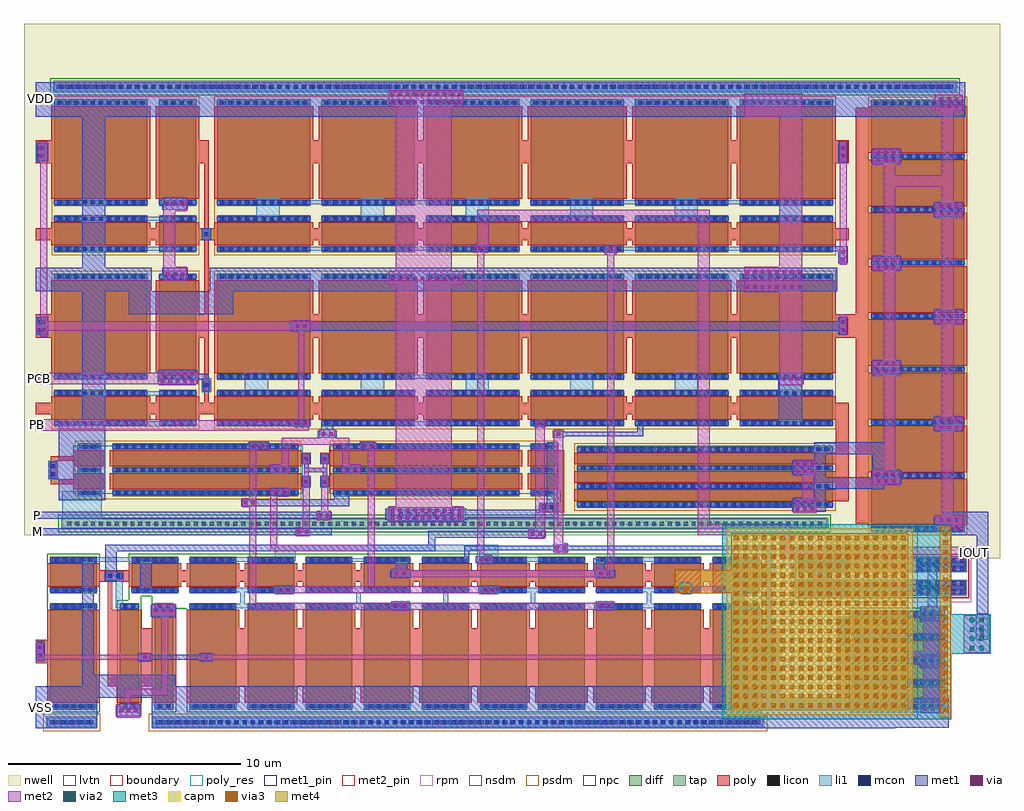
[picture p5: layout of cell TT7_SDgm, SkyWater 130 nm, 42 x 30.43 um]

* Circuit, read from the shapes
.subckt TT7_SDgm IOUT M P PB PCB VDD VSS
XM1 VSS n1 VSS VSS sky130_fd_pr__nfet_01v8 w=2 l=4 m=2
XM2 VSS n2 VSS VSS sky130_fd_pr__nfet_01v8 w=2 l=1 m=3
XM3 n2 n2 n3 VSS sky130_fd_pr__nfet_01v8 w=0.8 l=4
XM4 n3 n2 VSS VSS sky130_fd_pr__nfet_01v8 w=0.8 l=4
XM5 n4 n1 VSS VSS sky130_fd_pr__nfet_01v8 w=2 l=4 m=4
XM6 IOUT n2 n4 VSS sky130_fd_pr__nfet_01v8 w=2 l=1 m=4
XM7 n5 n1 VSS VSS sky130_fd_pr__nfet_01v8 w=2 l=4 m=4
XM8 n6 n2 n5 VSS sky130_fd_pr__nfet_01v8 w=2 l=1 m=4
XM9 n7 n1 VSS VSS sky130_fd_pr__nfet_01v8 w=2 l=4
XM10 n1 n2 n7 VSS sky130_fd_pr__nfet_01v8 w=2 l=1
XM11 VSS VSS VSS VSS sky130_fd_pr__nfet_01v8 w=4 l=0.7 m=4
XM12 VDD PCB VDD VDD sky130_fd_pr__pfet_01v8 w=4 l=1 m=3
XM13 VDD PB VDD VDD sky130_fd_pr__pfet_01v8 w=4 l=4 m=3
XM14 VDD VDD VDD VDD sky130_fd_pr__pfet_01v8_lvt w=1 l=0.7 m=4
XM15 n8 M n4 VDD sky130_fd_pr__pfet_01v8_lvt w=8 l=0.7 m=2
XM16 n5 P n8 VDD sky130_fd_pr__pfet_01v8_lvt w=8 l=0.7 m=2
XM17 VDD PCB VDD VDD sky130_fd_pr__pfet_01v8 w=1.6 l=1 m=2
XM18 n9 PCB PCB VDD sky130_fd_pr__pfet_01v8 w=1.6 l=4
XM19 VDD PCB n9 VDD sky130_fd_pr__pfet_01v8 w=1.6 l=4
XM20 n10 PCB PB VDD sky130_fd_pr__pfet_01v8 w=4 l=1
XM21 VDD PB n10 VDD sky130_fd_pr__pfet_01v8 w=4 l=4
XM22 n11 PCB IOUT VDD sky130_fd_pr__pfet_01v8 w=4 l=1 m=3
XM23 VDD n6 n11 VDD sky130_fd_pr__pfet_01v8 w=4 l=4 m=3
XM24 n12 PCB n8 VDD sky130_fd_pr__pfet_01v8 w=4 l=1 m=2
XM25 VDD PB n12 VDD sky130_fd_pr__pfet_01v8 w=4 l=4 m=2
XM26 n13 PCB n2 VDD sky130_fd_pr__pfet_01v8 w=4 l=1
XM27 VDD PB n13 VDD sky130_fd_pr__pfet_01v8 w=4 l=4
XM28 n14 PCB n6 VDD sky130_fd_pr__pfet_01v8 w=4 l=1 m=3
XM29 VDD n6 n14 VDD sky130_fd_pr__pfet_01v8 w=4 l=4 m=3
XM30 VDD PCB VDD VDD sky130_fd_pr__pfet_01v8 w=11 l=0.5 m=3
XM31 n15 PCB n1 VDD sky130_fd_pr__pfet_01v8 w=4 l=1
XM32 VDD PB n15 VDD sky130_fd_pr__pfet_01v8 w=4 l=4
XM33 VDD PB VDD VDD sky130_fd_pr__pfet_01v8 w=4 l=2 m=8
XC34 VSS VDD sky130_fd_pr__cap_mim_m3_1 w=8 l=8
XR35 VSS VSS VSS sky130_fd_pr__res_high_po w=0.69 l=2.98 m=2
.ends

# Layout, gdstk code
from math import pi, radians
import gdstk
lib = gdstk.Library(unit=1e-6, precision=1e-09)
def R(c, l, rs):  # rectangles x0, y0, x1, y1
    for r in rs: c.add(gdstk.rectangle(r[:2], r[2:], *l))
def A(c, l, x, y, w, h, nx, ny, dx, dy):  # array of equal rectangles
    R(c, l, [(x+i*dx, y+j*dy, x+i*dx+w, y+j*dy+h) for i in range(nx) for j in range(ny)])
nwell = (64, 20)
diff = (65, 20)
tap = (65, 44)
poly_res = (66, 13)
poly = (66, 20)
licon = (66, 44)
li1 = (67, 20)
mcon = (67, 44)
met1_pin = (68, 16)
met1 = (68, 20)
via = (68, 44)
met2_pin = (69, 16)
met2 = (69, 20)
via2 = (69, 44)
met3 = (70, 20)
via3 = (70, 44)
met4 = (71, 20)
rpm = (86, 20)
capm = (89, 44)
nsdm = (93, 44)
psdm = (94, 20)
npc = (95, 20)
lvtn = (125, 44)
boundary = (235, 4)

sky130_fd_pr__nfet_01v8_ = lib.new_cell('sky130_fd_pr__nfet_01v8_PTPCDK')
R(sky130_fd_pr__nfet_01v8_, diff, [(-2.29,-0.4,2.29,0.4)])
R(sky130_fd_pr__nfet_01v8_, poly, [(-2,-0.53,2,0.53)])
R(sky130_fd_pr__nfet_01v8_, licon, [(-2.23,-0.255,-2.06,-0.085), (2.06,-0.255,2.23,-0.085), (-2.23,0.085,-2.06,0.255), (2.06,0.085,2.23,0.255)])
R(sky130_fd_pr__nfet_01v8_, li1, [(-2.23,-0.42,-2.06,0.42), (2.06,-0.42,2.23,0.42)])
R(sky130_fd_pr__nfet_01v8_, mcon, [(-2.23,-0.265,-2.06,-0.095), (2.06,-0.265,2.23,-0.095), (-2.23,0.095,-2.06,0.265), (2.06,0.095,2.23,0.265)])
R(sky130_fd_pr__nfet_01v8_, met1, [(-2.26,-0.4,-2.03,0.4), (2.03,-0.4,2.26,0.4)])
R(sky130_fd_pr__nfet_01v8_, nsdm, [(-2.415,-0.525,2.415,0.525)])

c_sky130_fd_pr__nfet_01v8_ = lib.new_cell('sky130_fd_pr__nfet_01v8_PBDAGK')
R(c_sky130_fd_pr__nfet_01v8_, diff, [(-2.29,-1,2.29,1)])
R(c_sky130_fd_pr__nfet_01v8_, poly, [(-2,-1.13,2,1.13)])
A(c_sky130_fd_pr__nfet_01v8_, licon, -2.23, -0.935, 0.17, 0.17, 1, 6, 0, 0.34)
A(c_sky130_fd_pr__nfet_01v8_, licon, 2.06, -0.935, 0.17, 0.17, 1, 6, 0, 0.34)
R(c_sky130_fd_pr__nfet_01v8_, li1, [(-2.23,-1.02,-2.06,1.02), (2.06,-1.02,2.23,1.02)])
A(c_sky130_fd_pr__nfet_01v8_, mcon, -2.23, -0.805, 0.17, 0.17, 1, 5, 0, 0.36)
A(c_sky130_fd_pr__nfet_01v8_, mcon, 2.06, -0.805, 0.17, 0.17, 1, 5, 0, 0.36)
R(c_sky130_fd_pr__nfet_01v8_, met1, [(-2.26,-1,-2.03,1), (2.03,-1,2.26,1)])
R(c_sky130_fd_pr__nfet_01v8_, nsdm, [(-2.415,-1.125,2.415,1.125)])

sky130_fd_pr__pfet_01v8_ = lib.new_cell('sky130_fd_pr__pfet_01v8_lvt_J25L74')
R(sky130_fd_pr__pfet_01v8_, nwell, [(-1.315,-0.81,1.315,0.81)])
R(sky130_fd_pr__pfet_01v8_, diff, [(-1.135,-0.5,1.135,0.5)])
R(sky130_fd_pr__pfet_01v8_, poly, [(-0.845,-0.63,-0.145,0.63), (0.145,-0.63,0.845,0.63)])
A(sky130_fd_pr__pfet_01v8_, licon, -1.075, -0.425, 0.17, 0.17, 3, 3, 0.99, 0.34)
A(sky130_fd_pr__pfet_01v8_, li1, -1.075, -0.52, 0.17, 1.04, 3, 1, 0.99, 0)
A(sky130_fd_pr__pfet_01v8_, mcon, -1.075, -0.265, 0.17, 0.17, 3, 2, 0.99, 0.36)
A(sky130_fd_pr__pfet_01v8_, met1, -1.105, -0.5, 0.23, 1, 3, 1, 0.99, 0)
R(sky130_fd_pr__pfet_01v8_, psdm, [(-1.26,-0.625,1.26,0.625)])
R(sky130_fd_pr__pfet_01v8_, lvtn, [(-1.025,-0.68,1.025,0.68)])

c_sky130_fd_pr__pfet_01v8_ = lib.new_cell('sky130_fd_pr__pfet_01v8_lvt_8J5L7C')
R(c_sky130_fd_pr__pfet_01v8_, nwell, [(-1.315,-4.31,1.315,4.31)])
R(c_sky130_fd_pr__pfet_01v8_, diff, [(-1.135,-4,1.135,4)])
R(c_sky130_fd_pr__pfet_01v8_, poly, [(-0.845,-4.13,-0.145,4.13), (0.145,-4.13,0.845,4.13)])
A(c_sky130_fd_pr__pfet_01v8_, licon, -1.075, -3.825, 0.17, 0.17, 3, 23, 0.99, 0.34)
A(c_sky130_fd_pr__pfet_01v8_, li1, -1.075, -4.02, 0.17, 8.04, 3, 1, 0.99, 0)
A(c_sky130_fd_pr__pfet_01v8_, mcon, -1.075, -3.865, 0.17, 0.17, 3, 22, 0.99, 0.36)
A(c_sky130_fd_pr__pfet_01v8_, met1, -1.105, -4, 0.23, 8, 3, 1, 0.99, 0)
R(c_sky130_fd_pr__pfet_01v8_, psdm, [(-1.26,-4.125,1.26,4.125)])
R(c_sky130_fd_pr__pfet_01v8_, lvtn, [(-1.025,-4.18,1.025,4.18)])

c_sky130_fd_pr__nfet_01v8__ = lib.new_cell('sky130_fd_pr__nfet_01v8_72PH2K')
R(c_sky130_fd_pr__nfet_01v8__, diff, [(-0.79,-1,0.79,1)])
R(c_sky130_fd_pr__nfet_01v8__, poly, [(-0.5,-1.13,0.5,1.13)])
A(c_sky130_fd_pr__nfet_01v8__, licon, -0.73, -0.935, 0.17, 0.17, 1, 6, 0, 0.34)
A(c_sky130_fd_pr__nfet_01v8__, licon, 0.56, -0.935, 0.17, 0.17, 1, 6, 0, 0.34)
R(c_sky130_fd_pr__nfet_01v8__, li1, [(-0.73,-1.02,-0.56,1.02), (0.56,-1.02,0.73,1.02)])
A(c_sky130_fd_pr__nfet_01v8__, mcon, -0.73, -0.805, 0.17, 0.17, 1, 5, 0, 0.36)
A(c_sky130_fd_pr__nfet_01v8__, mcon, 0.56, -0.805, 0.17, 0.17, 1, 5, 0, 0.36)
R(c_sky130_fd_pr__nfet_01v8__, met1, [(-0.76,-1,-0.53,1), (0.53,-1,0.76,1)])
R(c_sky130_fd_pr__nfet_01v8__, nsdm, [(-0.915,-1.125,0.915,1.125)])

c_sky130_fd_pr__pfet_01v8__ = lib.new_cell('sky130_fd_pr__pfet_01v8_ZFUT7P')
R(c_sky130_fd_pr__pfet_01v8__, nwell, [(-2.47,-2.31,2.47,2.31)])
R(c_sky130_fd_pr__pfet_01v8__, diff, [(-2.29,-2,2.29,2)])
R(c_sky130_fd_pr__pfet_01v8__, poly, [(-2,-2.13,2,2.13)])
A(c_sky130_fd_pr__pfet_01v8__, licon, -2.23, -1.785, 0.17, 0.17, 1, 11, 0, 0.34)
A(c_sky130_fd_pr__pfet_01v8__, licon, 2.06, -1.785, 0.17, 0.17, 1, 11, 0, 0.34)
R(c_sky130_fd_pr__pfet_01v8__, li1, [(-2.23,-2.02,-2.06,2.02), (2.06,-2.02,2.23,2.02)])
A(c_sky130_fd_pr__pfet_01v8__, mcon, -2.23, -1.885, 0.17, 0.17, 1, 11, 0, 0.36)
A(c_sky130_fd_pr__pfet_01v8__, mcon, 2.06, -1.885, 0.17, 0.17, 1, 11, 0, 0.36)
R(c_sky130_fd_pr__pfet_01v8__, met1, [(-2.26,-2,-2.03,2), (2.03,-2,2.26,2)])
R(c_sky130_fd_pr__pfet_01v8__, psdm, [(-2.415,-2.125,2.415,2.125)])

c_sky130_fd_pr__pfet_01v8___ = lib.new_cell('sky130_fd_pr__pfet_01v8_UBUTEZ')
R(c_sky130_fd_pr__pfet_01v8___, nwell, [(-0.97,-2.31,0.97,2.31)])
R(c_sky130_fd_pr__pfet_01v8___, diff, [(-0.79,-2,0.79,2)])
R(c_sky130_fd_pr__pfet_01v8___, poly, [(-0.5,-2.13,0.5,2.13)])
A(c_sky130_fd_pr__pfet_01v8___, licon, -0.73, -1.785, 0.17, 0.17, 1, 11, 0, 0.34)
A(c_sky130_fd_pr__pfet_01v8___, licon, 0.56, -1.785, 0.17, 0.17, 1, 11, 0, 0.34)
R(c_sky130_fd_pr__pfet_01v8___, li1, [(-0.73,-2.02,-0.56,2.02), (0.56,-2.02,0.73,2.02)])
A(c_sky130_fd_pr__pfet_01v8___, mcon, -0.73, -1.885, 0.17, 0.17, 1, 11, 0, 0.36)
A(c_sky130_fd_pr__pfet_01v8___, mcon, 0.56, -1.885, 0.17, 0.17, 1, 11, 0, 0.36)
R(c_sky130_fd_pr__pfet_01v8___, met1, [(-0.76,-2,-0.53,2), (0.53,-2,0.76,2)])
R(c_sky130_fd_pr__pfet_01v8___, psdm, [(-0.915,-2.125,0.915,2.125)])

c_sky130_fd_pr__pfet_01v8____ = lib.new_cell('sky130_fd_pr__pfet_01v8_9WHHJ8')
R(c_sky130_fd_pr__pfet_01v8____, nwell, [(-0.97,-1.11,0.97,1.11)])
R(c_sky130_fd_pr__pfet_01v8____, diff, [(-0.79,-0.8,0.79,0.8)])
R(c_sky130_fd_pr__pfet_01v8____, poly, [(-0.5,-0.93,0.5,0.93)])
A(c_sky130_fd_pr__pfet_01v8____, licon, -0.73, -0.595, 0.17, 0.17, 1, 4, 0, 0.34)
A(c_sky130_fd_pr__pfet_01v8____, licon, 0.56, -0.595, 0.17, 0.17, 1, 4, 0, 0.34)
R(c_sky130_fd_pr__pfet_01v8____, li1, [(-0.73,-0.82,-0.56,0.82), (0.56,-0.82,0.73,0.82)])
A(c_sky130_fd_pr__pfet_01v8____, mcon, -0.73, -0.625, 0.17, 0.17, 1, 4, 0, 0.36)
A(c_sky130_fd_pr__pfet_01v8____, mcon, 0.56, -0.625, 0.17, 0.17, 1, 4, 0, 0.36)
R(c_sky130_fd_pr__pfet_01v8____, met1, [(-0.76,-0.8,-0.53,0.8), (0.53,-0.8,0.76,0.8)])
R(c_sky130_fd_pr__pfet_01v8____, psdm, [(-0.915,-0.925,0.915,0.925)])

c_sky130_fd_pr__pfet_01v8_____ = lib.new_cell('sky130_fd_pr__pfet_01v8_4WHHBW')
R(c_sky130_fd_pr__pfet_01v8_____, nwell, [(-2.47,-1.11,2.47,1.11)])
R(c_sky130_fd_pr__pfet_01v8_____, diff, [(-2.29,-0.8,2.29,0.8)])
R(c_sky130_fd_pr__pfet_01v8_____, poly, [(-2,-0.93,2,0.93)])
A(c_sky130_fd_pr__pfet_01v8_____, licon, -2.23, -0.595, 0.17, 0.17, 1, 4, 0, 0.34)
A(c_sky130_fd_pr__pfet_01v8_____, licon, 2.06, -0.595, 0.17, 0.17, 1, 4, 0, 0.34)
R(c_sky130_fd_pr__pfet_01v8_____, li1, [(-2.23,-0.82,-2.06,0.82), (2.06,-0.82,2.23,0.82)])
A(c_sky130_fd_pr__pfet_01v8_____, mcon, -2.23, -0.625, 0.17, 0.17, 1, 4, 0, 0.36)
A(c_sky130_fd_pr__pfet_01v8_____, mcon, 2.06, -0.625, 0.17, 0.17, 1, 4, 0, 0.36)
R(c_sky130_fd_pr__pfet_01v8_____, met1, [(-2.26,-0.8,-2.03,0.8), (2.03,-0.8,2.26,0.8)])
R(c_sky130_fd_pr__pfet_01v8_____, psdm, [(-2.415,-0.925,2.415,0.925)])

c_sky130_fd_pr__pfet_01v8______ = lib.new_cell('sky130_fd_pr__pfet_01v8_62YKV7')
R(c_sky130_fd_pr__pfet_01v8______, nwell, [(-1.51,-5.81,1.51,5.81)])
R(c_sky130_fd_pr__pfet_01v8______, diff, [(-1.33,-5.5,1.33,5.5)])
A(c_sky130_fd_pr__pfet_01v8______, poly, -1.04, -5.63, 0.5, 11.26, 3, 1, 0.79, 0)
A(c_sky130_fd_pr__pfet_01v8______, licon, -1.27, -5.355, 0.17, 0.17, 4, 32, 0.79, 0.34)
A(c_sky130_fd_pr__pfet_01v8______, li1, -1.27, -5.52, 0.17, 11.04, 4, 1, 0.79, 0)
A(c_sky130_fd_pr__pfet_01v8______, mcon, -1.27, -5.305, 0.17, 0.17, 4, 30, 0.79, 0.36)
A(c_sky130_fd_pr__pfet_01v8______, met1, -1.3, -5.5, 0.23, 11, 4, 1, 0.79, 0)
R(c_sky130_fd_pr__pfet_01v8______, psdm, [(-1.455,-5.625,1.455,5.625)])

c_sky130_fd_pr__nfet_01v8___ = lib.new_cell('sky130_fd_pr__nfet_01v8_KC2ME6')
R(c_sky130_fd_pr__nfet_01v8___, diff, [(-2.125,-2,2.125,2)])
A(c_sky130_fd_pr__nfet_01v8___, poly, -1.835, -2.13, 0.7, 4.26, 4, 1, 0.99, 0)
A(c_sky130_fd_pr__nfet_01v8___, licon, -2.065, -1.785, 0.17, 0.17, 5, 11, 0.99, 0.34)
A(c_sky130_fd_pr__nfet_01v8___, li1, -2.065, -2.02, 0.17, 4.04, 5, 1, 0.99, 0)
A(c_sky130_fd_pr__nfet_01v8___, mcon, -2.065, -1.885, 0.17, 0.17, 5, 11, 0.99, 0.36)
A(c_sky130_fd_pr__nfet_01v8___, met1, -2.095, -2, 0.23, 4, 5, 1, 0.99, 0)
R(c_sky130_fd_pr__nfet_01v8___, nsdm, [(-2.25,-2.125,2.25,2.125)])

sky130_fd_pr__cap_mim_m3 = lib.new_cell('sky130_fd_pr__cap_mim_m3_1_AFDLP7')
R(sky130_fd_pr__cap_mim_m3, met3, [(-4.93,-4.2,4.93,4.2)])
A(sky130_fd_pr__cap_mim_m3, via3, 4.57, -3.9, 0.2, 0.2, 1, 20, 0, 0.4)
A(sky130_fd_pr__cap_mim_m3, via3, -4.43, -3.7, 0.2, 0.2, 19, 19, 0.4, 0.4)
R(sky130_fd_pr__cap_mim_m3, met4, [(4.43,-4.14,4.91,4.14), (-4.535,-3.805,3.075,3.805)])
R(sky130_fd_pr__cap_mim_m3, capm, [(-4.73,-4,3.27,4)])
R(sky130_fd_pr__cap_mim_m3, boundary, [(-4.93,-4.2,3.47,4.2)])

sky130_fd_pr__res_high_p = lib.new_cell('sky130_fd_pr__res_high_po_0p69_4GDMBB')
R(sky130_fd_pr__res_high_p, poly_res, [(-0.345,-1.55,0.345,1.55)])
R(sky130_fd_pr__res_high_p, poly, [(-0.345,-3.63,0.345,3.63)])
R(sky130_fd_pr__res_high_p, licon, [(-0.095,-3.55,0.095,-1.55), (-0.095,1.55,0.095,3.55)])
R(sky130_fd_pr__res_high_p, li1, [(-0.345,-3.63,0.345,-1.47), (-0.345,1.47,0.345,3.63)])
A(sky130_fd_pr__res_high_p, mcon, -0.265, -3.535, 0.17, 0.17, 1, 6, 0, 0.36)
A(sky130_fd_pr__res_high_p, mcon, 0.095, -3.535, 0.17, 0.17, 1, 6, 0, 0.36)
A(sky130_fd_pr__res_high_p, mcon, -0.265, 1.56, 0.17, 0.17, 1, 6, 0, 0.36)
A(sky130_fd_pr__res_high_p, mcon, 0.095, 1.56, 0.17, 0.17, 1, 6, 0, 0.36)
R(sky130_fd_pr__res_high_p, met1, [(-0.295,-3.6,0.295,-1.495), (-0.295,1.495,0.295,3.6)])
R(sky130_fd_pr__res_high_p, rpm, [(-0.635,-3.83,0.635,3.83)])
R(sky130_fd_pr__res_high_p, psdm, [(-0.455,-3.74,0.455,3.74)])
R(sky130_fd_pr__res_high_p, npc, [(-0.44,-3.725,0.44,3.725)])

c_sky130_fd_pr__pfet_01v8_______ = lib.new_cell('sky130_fd_pr__pfet_01v8_UBQ8TH')
R(c_sky130_fd_pr__pfet_01v8_______, nwell, [(-9.485,-2.31,9.485,2.31)])
R(c_sky130_fd_pr__pfet_01v8_______, diff, [(-9.305,-2,9.305,2)])
A(c_sky130_fd_pr__pfet_01v8_______, poly, -9.015, -2.13, 2, 4.26, 8, 1, 2.29, 0)
A(c_sky130_fd_pr__pfet_01v8_______, licon, -9.245, -1.785, 0.17, 0.17, 9, 11, 2.29, 0.34)
A(c_sky130_fd_pr__pfet_01v8_______, li1, -9.245, -2.02, 0.17, 4.04, 9, 1, 2.29, 0)
A(c_sky130_fd_pr__pfet_01v8_______, mcon, -9.245, -1.885, 0.17, 0.17, 9, 11, 2.29, 0.36)
A(c_sky130_fd_pr__pfet_01v8_______, met1, -9.275, -2, 0.23, 4, 9, 1, 2.29, 0)
R(c_sky130_fd_pr__pfet_01v8_______, psdm, [(-9.43,-2.125,9.43,2.125)])

tt7_sdgm = lib.new_cell('TT7_SDgm')
R(tt7_sdgm, nwell, [(28.5,6.5,36,7.5), (-6,7.5,36,8.005), (-6,8.005,30.23,9.55), (30.305,8.005,36,9.7), (-6,9.55,7.15,9.7), (7.2,9.55,30.23,9.7), (-6,9.7,36,29.5)])
R(tt7_sdgm, tap, [(-5.05,-0.8,-2.85,-0.3), (-0.5,-0.8,25.85,-0.3), (-4.4,7.75,28.6,8.25), (-4.75,26.55,34.15,27.05)])
R(tt7_sdgm, poly, [(29,0.5,29.5,4), (-2.4,1,0.5,3.5), (1,1,26.5,3.5), (-5.5,2,-5,3), (-2.4,3.5,-2,4.3), (-2.4,4.3,-2.2,5.5), (-5,5.5,26,6), (29.8,8.01,30.33,16), (16.145,8.485,17.25,8.895), (16.15,8.895,17.25,8.9), (17.05,8.9,17.25,9.45), (28.94,8.97,29.5,12.7), (16.95,9.45,17.25,9.47), (16.94,9.47,17.25,11.16), (5.9,9.55,6.35,10.05), (6.75,9.55,7.2,10.05), (-4.85,9.7,-3.8,9.9), (-4.95,9.9,-4.55,10.7), (5.9,10.55,6.35,11.05), (6.75,10.55,7.2,11.05), (-4.85,10.7,-3.8,10.9), (-5.5,12.7,29.5,13.2), (1.75,13.2,1.95,13.65), (1.65,13.65,2.05,14.25), (1.75,14.25,1.95,16), (-5.5,16,-4,17), (1.5,16,1.95,17), (2.5,16,30.33,17), (1.75,17,1.95,20.2), (29.8,17,30.33,25.9), (-5.5,20.2,29.5,20.7), (1.75,20.7,1.95,23.5), (-5.5,23.5,-4,24.5), (1.5,23.5,1.95,24.5), (2.5,23.5,29.5,24.5)])
A(tt7_sdgm, licon, -4.885, -0.635, 0.17, 0.17, 6, 1, 0.34, 0)
A(tt7_sdgm, licon, -0.33, -0.635, 0.17, 0.17, 77, 1, 0.34, 0)
A(tt7_sdgm, licon, 25.965, 1.655, 0.17, 0.17, 1, 4, 0, 0.34)
A(tt7_sdgm, licon, 29.115, 2.925, 0.17, 0.17, 1, 3, 0, 0.34)
A(tt7_sdgm, licon, -4.135, 7.915, 0.17, 0.17, 96, 1, 0.34, 0)
A(tt7_sdgm, licon, -4.595, 26.715, 0.17, 0.17, 114, 1, 0.34, 0)
R(tt7_sdgm, licon, [(-5.385,2.245,-5.215,2.415), (-5.385,2.585,-5.215,2.755), (-2.38,5.665,-2.21,5.835), (-2.04,5.665,-1.87,5.835), (16.295,8.615,16.465,8.785), (16.635,8.615,16.805,8.785), (6.065,9.715,6.235,9.885), (6.865,9.715,7.035,9.885), (-4.835,10.045,-4.665,10.215), (-4.835,10.385,-4.665,10.555), (6.065,10.715,6.235,10.885), (6.865,10.715,7.035,10.885), (1.765,13.865,1.935,14.035), (-5.385,16.245,-5.215,16.415), (29.165,16.245,29.335,16.415), (-5.385,16.585,-5.215,16.755), (29.165,16.585,29.335,16.755), (1.765,20.365,1.935,20.535), (-5.385,23.745,-5.215,23.915), (29.165,23.745,29.335,23.915), (-5.385,24.085,-5.215,24.255), (29.165,24.085,29.335,24.255)])
A(tt7_sdgm, li1, 8.5, 13.5, 1, 1, 5, 1, 4.5, 0)
A(tt7_sdgm, li1, 4, 21, 1, 1, 5, 1, 4.5, 0)
R(tt7_sdgm, li1, [(-5,-0.75,-2.9,-0.35), (-0.45,-0.75,25.8,-0.35), (25.85,1.55,26.25,2.95), (-5.5,2.05,-5.1,2.95), (29,2.75,29.4,3.95), (-2.05,4.35,-1.75,5.55), (3.1,4.35,3.7,4.55), (8.1,4.35,8.7,4.55), (12.05,4.35,12.25,5.25), (15.6,4.35,16.2,4.55), (20.6,4.35,21.2,4.55), (3.3,4.55,3.5,5.05), (8.3,4.55,8.5,5.05), (15.8,4.55,16,5.05), (20.8,4.55,21,5.05), (3.1,5.05,3.65,5.25), (8.1,5.05,8.65,5.25), (15.6,5.05,16.15,5.25), (20.6,5.05,21.15,5.25), (-2.55,5.55,-1.7,5.95), (-2.9,6.35,-1.35,6.55), (3.1,6.35,3.65,6.55), (8.145,6.35,8.615,6.52), (15.6,6.35,16.15,6.55), (20.6,6.35,21.15,6.55), (4.8,6.4,5.7,6.8), (13.6,6.4,14.4,6.8), (4.8,6.8,14.4,7.1), (-4.35,7.8,28.55,8.2), (-4.35,8.2,-2.65,9.4), (9.6,8.2,13,8.6), (16.15,8.5,16.95,8.9), (5.95,9.55,6.35,10.05), (6.75,9.55,7.15,10.05), (-4.95,9.9,-4.55,10.7), (5.95,10.55,6.35,11.05), (6.75,10.55,7.15,11.05), (-0.75,12.2,-0.15,12.4), (10.81,12.24,11.31,12.41), (-0.75,13.5,-0.15,13.7), (3.5,13.5,4.5,14.5), (1.65,13.65,2.05,14.25), (10.815,14.24,11.305,14.41), (-5.5,16.1,-5.1,16.9), (29.05,16.1,29.45,16.9), (-0.7,19.74,-0.205,19.75), (6.32,19.74,6.8,19.91), (10.82,19.74,11.3,19.91), (19.82,19.74,20.3,19.91), (24.325,19.74,24.8,19.91), (-0.75,19.75,-0.15,19.9), (-0.7,19.9,-0.205,19.91), (1.65,20.2,2.05,20.7), (26.49,20.975,27.49,21.935), (-0.67,21.03,-0.2,21.05), (-0.75,21.05,-0.15,21.2), (6.32,21.74,6.8,21.91), (10.82,21.74,11.3,21.91), (19.825,21.74,20.3,21.91), (24.32,21.74,24.8,21.91), (29.05,23.55,29.45,24.45), (-5.5,23.6,-5.1,24.4), (-4.7,26.6,34.1,27)])
A(tt7_sdgm, mcon, -4.755, -0.635, 0.17, 0.17, 5, 1, 0.36, 0)
A(tt7_sdgm, mcon, -0.19, -0.635, 0.17, 0.17, 72, 1, 0.36, 0)
A(tt7_sdgm, mcon, 25.965, 1.805, 0.17, 0.17, 1, 3, 0, 0.36)
A(tt7_sdgm, mcon, 29.115, 2.905, 0.17, 0.17, 1, 3, 0, 0.36)
A(tt7_sdgm, mcon, 9.775, 8.315, 0.17, 0.17, 9, 1, 0.36, 0)
A(tt7_sdgm, mcon, -4.465, 26.715, 0.17, 0.17, 107, 1, 0.36, 0)
R(tt7_sdgm, mcon, [(-5.385,2.235,-5.215,2.405), (-5.385,2.595,-5.215,2.765), (-2.39,5.665,-2.22,5.835), (-2.03,5.665,-1.86,5.835), (16.285,8.615,16.455,8.785), (16.645,8.615,16.815,8.785), (6.065,9.715,6.235,9.885), (6.865,9.715,7.035,9.885), (-4.835,10.035,-4.665,10.205), (-4.835,10.395,-4.665,10.565), (6.065,10.715,6.235,10.885), (6.865,10.715,7.035,10.885), (1.765,13.865,1.935,14.035), (-5.385,16.235,-5.215,16.405), (29.165,16.235,29.335,16.405), (-5.385,16.595,-5.215,16.765), (29.165,16.595,29.335,16.765), (1.765,20.365,1.935,20.535), (-5.385,23.735,-5.215,23.905), (29.165,23.735,29.335,23.905), (-5.385,24.095,-5.215,24.265), (29.165,24.095,29.335,24.265)])
R(tt7_sdgm, met1_pin, [(-5.4,0,-5.2,0.2), (-5.45,7.6,-5.35,7.7), (-5.45,8.3,-5.35,8.4), (-5.4,26.2,-5.2,26.4)])
A(tt7_sdgm, met1, 33.15, 12, 1.3, 0.6, 1, 3, 0, 4.6)
R(tt7_sdgm, met1, [(-5.5,-0.8,-2.85,0.5), (-0.5,-0.8,31.5,-0.79), (-0.5,-0.79,33.8,0.48), (-2.05,-0.3,-0.95,0.2), (-0.5,0.48,31.5,0.5), (32.545,0.48,33.635,0.485), (-5.5,0.5,26.5,1), (-3.5,1,0.5,1.5), (24.5,1,25,6.5), (30.15,1,30.75,1.3), (-3.5,1.5,-3,6.5), (25.92,1.59,26.18,1.9), (32.545,1.795,33.635,2.385), (25.85,1.9,26.25,2.55), (-5.43,2.09,-5.17,2.15), (-1.1,2.1,-0.5,2.15), (1.55,2.1,2.15,2.15), (-5.5,2.15,-5.1,2.85), (-1.1,2.15,2.15,2.35), (-1.1,2.35,-0.5,2.4), (1.55,2.35,2.15,2.4), (25.92,2.55,26.18,2.91), (29.07,2.79,29.33,2.85), (-5.43,2.85,-5.17,2.91), (29,2.85,29.4,3.85), (25.95,2.91,26.15,6.85), (30.15,2.95,30.75,3.25), (34.95,3,35.5,4.1), (32.545,3.795,33.635,4.385), (29.07,3.85,29.33,3.91), (-0.55,4,0.55,4.5), (35,4.1,35.5,7.5), (9.75,4.3,10.65,4.6), (18.55,4.3,19.45,4.6), (32.9,4.385,33.3,6.1), (-1,5,-0.5,6.5), (4.75,5,5.65,5.3), (13.55,5,14.45,5.3), (29.3,5.1,32.7,5.4), (-2.5,5.5,-2,5.62), (28,5.5,28.6,6), (-2.51,5.62,-1.74,5.88), (9.75,5.7,10.65,6), (18.55,5.7,19.45,6), (-2.5,5.88,-2,6.8), (10,6,10.5,6.4), (18.5,6,19,6.5), (13.45,6.3,14.2,6.6), (12.95,6.35,13.15,6.85), (-2.5,6.8,11.7,7.1), (16.75,6.8,17.45,6.85), (12.95,6.85,26.15,7.05), (16.75,7.05,17.45,7.1), (11.4,7.1,11.7,7.4), (11.4,7.4,16.45,7.7), (-5.5,7.5,7.25,7.8), (33.5,7.5,35.5,7.7), (33.15,7.7,35.5,8.3), (9.65,8.1,12.95,8.17), (9.54,8.17,13.06,8.25), (-5.5,8.2,7.25,8.5), (9.54,8.25,17,8.6), (33.5,8.3,35.5,8.5), (28,8.5,28.5,8.505), (27.06,8.505,28.5,9.095), (9.54,8.6,13.06,8.63), (16.19,8.6,17,8.83), (9.65,8.63,12.95,8.7), (3.35,8.75,8,9.05), (16.5,8.83,17,11.5), (-4.5,9,-2.5,9.9), (7.35,9.05,8,9.4), (28,9.095,28.5,9.49), (4.55,9.2,5.45,9.5), (30.505,9.48,31.015,9.49), (28,9.49,31.015,9.7), (6.02,9.59,6.28,9.6), (6.82,9.59,7.08,9.6), (5.95,9.6,6.35,10), (6.75,9.6,7.15,10), (28,9.7,31.75,10.005), (-4.65,9.9,-2.5,9.94), (-4.88,9.94,-2.5,10.66), (6.02,10,6.28,10.01), (6.82,10,7.08,10.01), (28,10.005,28.5,10.105), (30.45,10.005,31.75,10.3), (6.85,10.01,7.05,10.2), (27.06,10.105,28.5,10.695), (4.55,10.2,5.45,10.5), (6.05,10.2,7.05,10.4), (7.65,10.2,8.55,10.5), (30.505,10.3,31.015,10.485), (6.05,10.4,6.25,10.59), (30.505,10.485,31.01,10.995), (6.02,10.59,6.28,10.6), (6.82,10.59,7.08,10.6), (5.95,10.6,6.35,11), (6.75,10.6,7.15,11), (-4.65,10.66,-2.5,10.7), (28,10.695,28.5,10.995), (-4.5,10.7,-2.5,12.5), (28,10.995,31.015,11.495), (6.02,11,6.28,11.01), (6.82,11,7.08,11.01), (3.65,11.2,4.55,11.5), (8.45,11.2,9.15,11.5), (28,11.495,28.5,11.5), (6.65,11.7,7.45,12), (16.75,11.7,17.25,11.75), (16.75,11.75,20.65,11.95), (16.75,11.95,17.25,12), (20.4,11.95,20.65,12.4), (6.8,12,7.3,12.4), (5.6,12.15,6.3,12.45), (15.95,12.15,16.45,12.45), (26.475,12.25,27.49,13.7), (-3.5,12.5,-2.5,18), (1.72,13.69,1.98,14.2), (26.45,13.7,27.5,14), (-0.25,14,1.45,14.2), (26.45,14,27.55,14.5), (-0.25,14.2,1.98,14.21), (-0.25,14.21,1.95,14.45), (30.45,14.4,31.75,15), (-0.25,14.45,1.45,14.6), (-5.35,16.1,-4.95,16.14), (-5.43,16.14,-4.95,16.86), (29.12,16.14,29.38,16.15), (29.05,16.15,29.45,16.3), (5.45,16.3,29.45,16.7), (29.05,16.7,29.45,16.85), (29.12,16.85,29.38,16.86), (-5.35,16.86,-4.95,16.9), (-1.5,17,3,18), (-5.5,18,-0.5,19), (2,18,29,19), (-0.05,18.5,1.05,19), (30.45,18.9,31.75,19.5), (-3.5,19,-2.5,25.5), (27,19,28,19.005), (29.05,19.2,29.45,19.71), (18.95,19.65,19.55,19.95), (13.3,19.7,14,20), (28.8,19.71,29.45,19.94), (1.67,20.19,2.03,20.71), (-0.05,21.5,1.05,22), (30.45,23.5,31.75,24.1), (29.07,23.54,29.43,23.6), (-5.45,23.6,-4.95,24.4), (29.05,23.6,29.45,24.4), (29.07,24.4,29.43,24.46), (-5.5,25.5,34.5,27)])
A(tt7_sdgm, via, -1.895, -0.125, 0.15, 0.15, 3, 1, 0.32, 0)
A(tt7_sdgm, via, 32.695, -0.045, 0.15, 0.15, 3, 2, 0.32, 0.32)
A(tt7_sdgm, via, 32.695, 1.855, 0.15, 0.15, 3, 2, 0.32, 0.32)
A(tt7_sdgm, via, 29.125, 2.955, 0.15, 0.15, 1, 3, 0, 0.32)
A(tt7_sdgm, via, 35.15, 3.155, 0.15, 0.15, 1, 3, 0, 0.32)
A(tt7_sdgm, via, 32.695, 3.855, 0.15, 0.15, 3, 2, 0.32, 0.32)
A(tt7_sdgm, via, -0.395, 4.175, 0.15, 0.15, 3, 1, 0.32, 0)
A(tt7_sdgm, via, 33.405, 7.765, 0.15, 0.15, 3, 2, 0.32, 0.32)
A(tt7_sdgm, via, 9.785, 8.165, 0.15, 0.15, 10, 2, 0.32, 0.32)
A(tt7_sdgm, via, 27.21, 8.565, 0.15, 0.15, 3, 2, 0.32, 0.32)
A(tt7_sdgm, via, 30.705, 9.765, 0.15, 0.15, 3, 2, 0.32, 0.32)
A(tt7_sdgm, via, 27.21, 10.165, 0.15, 0.15, 3, 2, 0.32, 0.32)
A(tt7_sdgm, via, 33.405, 12.065, 0.15, 0.15, 3, 2, 0.32, 0.32)
A(tt7_sdgm, via, -0.115, 14.065, 0.15, 0.15, 5, 2, 0.32, 0.32)
A(tt7_sdgm, via, 26.605, 14.175, 0.15, 0.15, 3, 1, 0.32, 0)
A(tt7_sdgm, via, 30.705, 14.465, 0.15, 0.15, 3, 2, 0.32, 0.32)
A(tt7_sdgm, via, 33.405, 16.665, 0.15, 0.15, 3, 2, 0.32, 0.32)
A(tt7_sdgm, via, 25.055, 18.105, 0.15, 0.15, 8, 3, 0.32, 0.32)
A(tt7_sdgm, via, 9.785, 18.475, 0.15, 0.15, 10, 2, 0.32, 7.59)
A(tt7_sdgm, via, 0.105, 18.675, 0.15, 0.15, 3, 2, 0.32, 3)
A(tt7_sdgm, via, 30.705, 18.965, 0.15, 0.15, 3, 2, 0.32, 0.32)
A(tt7_sdgm, via, 33.405, 21.265, 0.15, 0.15, 3, 2, 0.32, 0.32)
A(tt7_sdgm, via, 30.705, 23.565, 0.15, 0.15, 3, 2, 0.32, 0.32)
A(tt7_sdgm, via, 33.405, 25.865, 0.15, 0.15, 3, 2, 0.32, 0.32)
A(tt7_sdgm, via, 9.785, 26.385, 0.15, 0.15, 10, 1, 0.32, 0)
R(tt7_sdgm, via, [(30.375,1.075,30.525,1.225), (25.975,1.99,26.125,2.14), (-0.875,2.175,-0.725,2.325), (1.775,2.175,1.925,2.325), (-5.375,2.265,-5.225,2.415), (25.975,2.31,26.125,2.46), (-5.375,2.585,-5.225,2.735), (30.375,3.025,30.525,3.175), (9.965,4.375,10.115,4.525), (10.285,4.375,10.435,4.525), (18.765,4.375,18.915,4.525), (19.085,4.375,19.235,4.525), (24.675,5.015,24.825,5.165), (4.965,5.075,5.115,5.225), (5.285,5.075,5.435,5.225), (13.765,5.075,13.915,5.225), (14.085,5.075,14.235,5.225), (24.675,5.335,24.825,5.485), (9.965,5.775,10.115,5.925), (10.285,5.775,10.435,5.925), (18.765,5.775,18.915,5.925), (19.085,5.775,19.235,5.925), (13.59,6.375,13.74,6.525), (13.91,6.375,14.06,6.525), (16.865,6.875,17.015,7.025), (17.185,6.875,17.335,7.025), (15.815,7.475,15.965,7.625), (16.135,7.475,16.285,7.625), (5.765,7.575,5.915,7.725), (6.085,7.575,6.235,7.725), (6.665,8.275,6.815,8.425), (6.985,8.275,7.135,8.425), (3.465,8.825,3.615,8.975), (3.785,8.825,3.935,8.975), (4.765,9.275,4.915,9.425), (5.085,9.275,5.235,9.425), (6.075,9.725,6.225,9.875), (6.875,9.725,7.025,9.875), (4.765,10.275,4.915,10.425), (5.085,10.275,5.235,10.425), (7.865,10.275,8.015,10.425), (8.185,10.275,8.335,10.425), (6.075,10.725,6.225,10.875), (6.875,10.725,7.025,10.875), (3.865,11.275,4.015,11.425), (4.185,11.275,4.335,11.425), (8.565,11.275,8.715,11.425), (8.885,11.275,9.035,11.425), (6.815,11.775,6.965,11.925), (7.135,11.775,7.285,11.925), (16.925,11.775,17.075,11.925), (5.715,12.225,5.865,12.375), (6.035,12.225,6.185,12.375), (16.125,12.225,16.275,12.375), (-5.225,16.265,-5.075,16.415), (29.175,16.265,29.325,16.415), (5.69,16.425,5.84,16.575), (6.01,16.425,6.16,16.575), (-5.225,16.585,-5.075,16.735), (29.175,16.585,29.325,16.735), (29.175,19.29,29.325,19.44), (29.175,19.61,29.325,19.76), (19.175,19.725,19.325,19.875), (13.415,19.775,13.565,19.925), (13.735,19.775,13.885,19.925), (-5.275,23.765,-5.125,23.915), (29.175,23.765,29.325,23.915), (-5.275,24.085,-5.125,24.235), (29.175,24.085,29.325,24.235)])
R(tt7_sdgm, met2_pin, [(34.85,6.7,34.95,6.8), (-5.45,12.2,-5.35,12.3), (-5.4,14.2,-5.3,14.3)])
A(tt7_sdgm, met2, 33.2, 11.95, 1.2, 0.7, 1, 4, 0, 4.6)
R(tt7_sdgm, met2, [(-2,-0.35,-1,0.25), (32.595,-0.155,33.585,0.535), (-1.7,0.25,-1.4,0.6), (32.705,0.535,33.515,1.745), (-1.7,0.6,0.2,0.9), (-0.1,0.9,0.2,3.95), (30.2,0.95,30.7,1.35), (30.2,1.35,30.6,2), (32.595,1.745,33.585,2), (25.9,1.85,26.2,2.15), (29,2,33.585,2.435), (-1.05,2.05,-0.55,2.15), (1.6,2.05,2.1,2.15), (-5.45,2.1,-5.15,2.15), (-5.45,2.15,-0.55,2.35), (1.6,2.15,26.2,2.35), (-5.45,2.35,-5.15,2.9), (-1.05,2.35,-0.55,2.45), (1.6,2.35,2.1,2.45), (25.9,2.35,26.2,2.6), (29,2.435,33.515,2.5), (34.45,2.45,35.55,4.05), (29,2.5,29.5,4), (30.2,2.5,30.6,2.9), (32.705,2.5,33.515,3.745), (30.2,2.9,30.7,2.95), (30.15,2.95,30.75,3.3), (32.595,3.745,33.585,4.435), (-0.5,3.95,0.5,4.55), (35,4.05,35.45,4.15), (9.8,4.25,10.6,4.3), (18.6,4.25,19.4,4.3), (3.7,4.3,19.4,4.6), (3.7,4.6,4,8.7), (9.8,4.6,10.6,4.65), (18.6,4.6,19.4,4.65), (24.6,4.9,24.9,5), (4.8,4.95,5.6,5), (13.6,4.95,14.4,5), (22.3,4.95,22.7,5), (4.8,5,14.4,5.3), (22.3,5,24.9,5.3), (4.8,5.3,5.6,5.35), (8.8,5.3,9.1,6.8), (13.6,5.3,14.4,5.35), (22.3,5.3,22.7,5.45), (24.6,5.3,24.9,5.6), (9.8,5.65,10.6,5.7), (18.6,5.65,19.4,5.7), (9.8,5.7,19.4,6), (9.8,6,10.6,6.05), (18.6,6,19.4,6.05), (19.1,6.05,19.4,19.6), (13.5,6.25,14.15,6.65), (26.5,6.5,35,7), (13.5,6.65,13.8,19.65), (16.8,6.75,17.4,7.15), (4.6,6.8,9.1,7.1), (26.5,7,27,7.5), (4.6,7.1,4.9,9.15), (8.8,7.1,9.1,11.15), (16.8,7.15,17.2,12.05), (15.7,7.35,16.4,7.75), (5.7,7.45,6.3,7.85), (23,7.5,27,8), (33.2,7.65,34.4,8.35), (16,7.75,16.4,12.5), (6,7.85,6.3,10.05), (23,8,23.5,21), (9.7,8.05,12.9,8.75), (6.6,8.15,7.2,8.55), (33.5,8.35,34,11.95), (27.11,8.455,28.1,9.145), (6.8,8.55,7.1,10.05), (3.4,8.7,4,9.1), (10,8.75,12.4,18.25), (3.7,9.1,4,11.15), (27.5,9.145,28,10.055), (4.6,9.15,5.4,9.55), (30.5,9.65,31.7,10.35), (6.05,10.05,6.25,10.2), (27.11,10.055,28.1,10.745), (4.6,10.15,5.4,10.55), (7.7,10.15,8.5,10.55), (6.05,10.2,7.05,10.4), (31,10.35,31.5,14.35), (6.85,10.4,7.05,10.55), (5.1,10.55,5.4,11.4), (6,10.55,6.3,11.05), (6.8,10.55,7.1,11.05), (7.7,10.55,8,11.4), (3.7,11.15,4.5,11.55), (8.5,11.15,9.1,11.55), (5.1,11.4,8,11.7), (6.7,11.7,7.4,12.05), (-5.5,12,6.25,12.45), (-5.5,12.45,1.5,12.5), (5.65,12.45,6.25,12.5), (5.8,12.5,6.05,16.25), (33.5,12.65,34,16.55), (-0.2,13.95,1.4,14), (26.5,13.95,27.5,17.95), (-5.5,14,1.5,14.5), (30.5,14.35,31.7,15.05), (-0.2,14.5,1.4,14.65), (31,15.05,31.5,18.85), (-5.3,16.05,-5,16.3), (29.1,16.1,29.4,17), (5.5,16.25,6.35,16.3), (-5.5,16.3,6.35,16.7), (-5.3,16.7,-5,23.55), (5.5,16.7,6.35,16.75), (33.5,17.25,34,21.15), (25,17.95,27.5,19.05), (9.7,18.25,12.9,18.85), (0,18.45,1,19.05), (10,18.85,12.4,25.95), (30.5,18.85,31.7,19.55), (0,19.05,0.5,21.45), (26.5,19.05,27.5,25.5), (29.1,19.15,29.4,24.45), (31,19.55,31.5,22.5), (19,19.6,19.5,20), (13.35,19.65,13.95,20), (13.35,20,14,20.05), (13.5,20.05,14,21), (13.5,21,23.5,21.5), (0,21.45,1,22.05), (33.5,21.85,34,22.5), (31,22.5,34,23), (31,23,31.5,23.45), (33.5,23,34,25.75), (30.5,23.45,31.7,24.15), (-5.4,23.55,-5,24.45), (25,25.5,27.5,26.5), (9.7,25.95,12.9,26.65)])
A(tt7_sdgm, via2, 34.7, 2.55, 0.2, 0.2, 1, 4, 0, 0.4)
A(tt7_sdgm, via2, 35.1, 2.55, 0.2, 0.2, 1, 4, 0, 0.4)
R(tt7_sdgm, via2, [(22.4,5.1,22.6,5.3)])
R(tt7_sdgm, met3, [(33.6,2.4,35.6,4.1), (22.25,4.975,22.75,5), (22.2,5,22.75,5.425), (22.2,5.425,22.7,5.5)])
R(tt7_sdgm, via3, [(22.4,5.1,22.6,5.3)])
R(tt7_sdgm, met4, [(21.995,4.995,23.505,5), (21.995,5,25,6), (21.995,6,23.505,6.005)])
A(tt7_sdgm, nsdm, 3.255, -0.125, 0.25, 4.83, 9, 1, 2.5, 0)
A(tt7_sdgm, nsdm, 0.755, 4.875, 0.25, 1.83, 10, 1, 2.5, 0)
R(tt7_sdgm, nsdm, [(0.555,4.33,1.005,4.705), (-4.995,4.705,-2.745,4.875), (-1.495,4.705,-0.945,4.875), (-0.495,4.705,25.755,4.875), (-4.525,7.625,28.725,8.375), (-4.875,26.425,34.275,27.175)])
A(tt7_sdgm, psdm, 6.435, 12.055, 0.25, 1.83, 5, 2, 4.5, 7.5)
A(tt7_sdgm, psdm, 6.435, 14.055, 0.25, 4.83, 5, 2, 4.5, 7.5)
R(tt7_sdgm, psdm, [(-5.175,-0.925,-2.725,-0.175), (-0.625,-0.925,25.975,-0.175), (27.19,5.7,34.67,5.79), (-2.565,9.055,-2.315,11.575), (15.435,9.055,15.685,11.575), (-0.565,12.055,-0.315,13.885), (-4.815,13.885,1.535,14.055), (2.185,13.885,28.935,14.055), (-0.565,14.055,-0.315,18.885), (-0.565,19.555,-0.315,21.385), (-4.815,21.385,1.535,21.555), (2.185,21.385,28.935,21.555), (-0.565,21.555,-0.315,26.385)])
R(tt7_sdgm, npc, [(25.865,1.555,26.235,2.945), (-5.485,2.145,-5.115,2.855), (29.015,2.825,29.385,3.875), (-2.48,5.565,-1.77,5.935), (27.205,5.685,34.655,5.805), (16.195,8.515,16.905,8.885), (5.965,9.615,6.335,9.985), (6.765,9.615,7.135,9.985), (-4.935,9.945,-4.565,10.655), (5.965,10.615,6.335,10.985), (6.765,10.615,7.135,10.985), (1.665,13.765,2.035,14.135), (-5.485,16.145,-5.115,16.855), (29.065,16.145,29.435,16.855), (1.665,20.265,2.035,20.635), (-5.485,23.645,-5.115,24.355), (29.065,23.645,29.435,24.355)])
R(tt7_sdgm, lvtn, [(-2.51,9.29,-2.37,11.34), (15.49,9.29,15.63,11.34)])
tt7_sdgm.add(gdstk.Reference(sky130_fd_pr__nfet_01v8_, (-1.47,2.29), rotation=3*pi/2))
tt7_sdgm.add(gdstk.Reference(sky130_fd_pr__nfet_01v8_, (0.03,2.29), rotation=3*pi/2))
tt7_sdgm.add(gdstk.Reference(c_sky130_fd_pr__nfet_01v8_, (-3.87,2.29), rotation=3*pi/2))
tt7_sdgm.add(gdstk.Reference(c_sky130_fd_pr__nfet_01v8_, (4.63,2.29), rotation=3*pi/2))
tt7_sdgm.add(gdstk.Reference(c_sky130_fd_pr__nfet_01v8_, (2.13,2.29), rotation=3*pi/2))
tt7_sdgm.add(gdstk.Reference(c_sky130_fd_pr__nfet_01v8_, (7.13,2.29), rotation=3*pi/2))
tt7_sdgm.add(gdstk.Reference(sky130_fd_pr__pfet_01v8_, (-3.19,10.315), rotation=3*pi/2))
tt7_sdgm.add(gdstk.Reference(c_sky130_fd_pr__pfet_01v8_, (1.81,10.315), rotation=3*pi/2))
tt7_sdgm.add(gdstk.Reference(c_sky130_fd_pr__nfet_01v8__, (-3.87,5.79), rotation=3*pi/2))
tt7_sdgm.add(gdstk.Reference(c_sky130_fd_pr__nfet_01v8__, (4.63,5.79), rotation=3*pi/2))
tt7_sdgm.add(gdstk.Reference(c_sky130_fd_pr__nfet_01v8__, (2.13,5.79), rotation=3*pi/2))
tt7_sdgm.add(gdstk.Reference(c_sky130_fd_pr__nfet_01v8__, (-0.37,5.79), rotation=3*pi/2))
tt7_sdgm.add(gdstk.Reference(c_sky130_fd_pr__nfet_01v8__, (7.13,5.79), rotation=3*pi/2))
tt7_sdgm.add(gdstk.Reference(c_sky130_fd_pr__pfet_01v8__, (4.31,16.47), rotation=3*pi/2))
tt7_sdgm.add(gdstk.Reference(c_sky130_fd_pr__pfet_01v8__, (-2.69,16.47), rotation=3*pi/2))
tt7_sdgm.add(gdstk.Reference(c_sky130_fd_pr__pfet_01v8__, (8.81,16.47), rotation=3*pi/2))
tt7_sdgm.add(gdstk.Reference(c_sky130_fd_pr__pfet_01v8___, (4.31,12.97), rotation=3*pi/2))
tt7_sdgm.add(gdstk.Reference(c_sky130_fd_pr__pfet_01v8___, (-2.69,12.97), rotation=3*pi/2))
tt7_sdgm.add(gdstk.Reference(c_sky130_fd_pr__pfet_01v8___, (8.81,12.97), rotation=3*pi/2))
tt7_sdgm.add(gdstk.Reference(c_sky130_fd_pr__pfet_01v8____, (0.61,12.97), rotation=3*pi/2))
tt7_sdgm.add(gdstk.Reference(c_sky130_fd_pr__pfet_01v8_____, (0.61,16.47), rotation=3*pi/2))
tt7_sdgm.add(gdstk.Reference(c_sky130_fd_pr__pfet_01v8__, (4.31,23.97), rotation=3*pi/2))
tt7_sdgm.add(gdstk.Reference(c_sky130_fd_pr__pfet_01v8__, (8.81,23.97), rotation=3*pi/2))
tt7_sdgm.add(gdstk.Reference(c_sky130_fd_pr__pfet_01v8__, (-2.69,23.97), rotation=3*pi/2))
tt7_sdgm.add(gdstk.Reference(c_sky130_fd_pr__pfet_01v8___, (4.31,20.47), rotation=3*pi/2))
tt7_sdgm.add(gdstk.Reference(c_sky130_fd_pr__pfet_01v8___, (-2.69,20.47), rotation=3*pi/2))
tt7_sdgm.add(gdstk.Reference(c_sky130_fd_pr__pfet_01v8___, (8.81,20.47), rotation=3*pi/2))
tt7_sdgm.add(gdstk.Reference(c_sky130_fd_pr__pfet_01v8____, (0.61,20.47), rotation=3*pi/2))
tt7_sdgm.add(gdstk.Reference(c_sky130_fd_pr__pfet_01v8_____, (0.61,23.97), rotation=3*pi/2))
tt7_sdgm.add(gdstk.Reference(c_sky130_fd_pr__nfet_01v8_, (17.13,2.29), rotation=3*pi/2))
tt7_sdgm.add(gdstk.Reference(c_sky130_fd_pr__nfet_01v8_, (14.63,2.29), rotation=3*pi/2))
tt7_sdgm.add(gdstk.Reference(c_sky130_fd_pr__nfet_01v8_, (12.13,2.29), rotation=3*pi/2))
tt7_sdgm.add(gdstk.Reference(c_sky130_fd_pr__nfet_01v8_, (9.63,2.29), rotation=3*pi/2))
tt7_sdgm.add(gdstk.Reference(sky130_fd_pr__pfet_01v8_, (16.31,10.315), rotation=3*pi/2))
tt7_sdgm.add(gdstk.Reference(c_sky130_fd_pr__pfet_01v8_, (11.31,10.315), rotation=3*pi/2))
tt7_sdgm.add(gdstk.Reference(c_sky130_fd_pr__pfet_01v8______, (23.31,10.01), rotation=3*pi/2))
tt7_sdgm.add(gdstk.Reference(c_sky130_fd_pr__nfet_01v8__, (17.13,5.79), rotation=3*pi/2))
tt7_sdgm.add(gdstk.Reference(c_sky130_fd_pr__nfet_01v8__, (14.63,5.79), rotation=3*pi/2))
tt7_sdgm.add(gdstk.Reference(c_sky130_fd_pr__nfet_01v8__, (12.13,5.79), rotation=3*pi/2))
tt7_sdgm.add(gdstk.Reference(c_sky130_fd_pr__nfet_01v8__, (9.63,5.79), rotation=3*pi/2))
tt7_sdgm.add(gdstk.Reference(c_sky130_fd_pr__pfet_01v8__, (17.81,16.47), rotation=3*pi/2))
tt7_sdgm.add(gdstk.Reference(c_sky130_fd_pr__pfet_01v8__, (13.31,16.47), rotation=3*pi/2))
tt7_sdgm.add(gdstk.Reference(c_sky130_fd_pr__pfet_01v8___, (17.81,12.97), rotation=3*pi/2))
tt7_sdgm.add(gdstk.Reference(c_sky130_fd_pr__pfet_01v8___, (13.31,12.97), rotation=3*pi/2))
tt7_sdgm.add(gdstk.Reference(c_sky130_fd_pr__pfet_01v8__, (13.31,23.97), rotation=3*pi/2))
tt7_sdgm.add(gdstk.Reference(c_sky130_fd_pr__pfet_01v8__, (17.81,23.97), rotation=3*pi/2))
tt7_sdgm.add(gdstk.Reference(c_sky130_fd_pr__pfet_01v8___, (13.31,20.47), rotation=3*pi/2))
tt7_sdgm.add(gdstk.Reference(c_sky130_fd_pr__pfet_01v8___, (17.81,20.47), rotation=3*pi/2))
tt7_sdgm.add(gdstk.Reference(c_sky130_fd_pr__nfet_01v8__, (22.13,5.79), rotation=3*pi/2))
tt7_sdgm.add(gdstk.Reference(c_sky130_fd_pr__nfet_01v8__, (19.63,5.79), rotation=3*pi/2))
tt7_sdgm.add(gdstk.Reference(c_sky130_fd_pr__nfet_01v8__, (24.63,5.79), rotation=3*pi/2))
tt7_sdgm.add(gdstk.Reference(c_sky130_fd_pr__nfet_01v8_, (22.13,2.29), rotation=3*pi/2))
tt7_sdgm.add(gdstk.Reference(c_sky130_fd_pr__nfet_01v8_, (19.63,2.29), rotation=3*pi/2))
tt7_sdgm.add(gdstk.Reference(c_sky130_fd_pr__nfet_01v8_, (24.63,2.29), rotation=3*pi/2))
tt7_sdgm.add(gdstk.Reference(c_sky130_fd_pr__nfet_01v8___, (31.63,2.125), rotation=3*pi/2))
tt7_sdgm.add(gdstk.Reference(sky130_fd_pr__cap_mim_m3, (28.98,3.775)))
tt7_sdgm.add(gdstk.Reference(sky130_fd_pr__res_high_p, (30.93,6.245), rotation=pi/2))
tt7_sdgm.add(gdstk.Reference(sky130_fd_pr__res_high_p, (30.93,5.245), rotation=pi/2))
tt7_sdgm.add(gdstk.Reference(c_sky130_fd_pr__pfet_01v8__, (22.31,16.47), rotation=3*pi/2))
tt7_sdgm.add(gdstk.Reference(c_sky130_fd_pr__pfet_01v8__, (26.81,16.47), rotation=3*pi/2))
tt7_sdgm.add(gdstk.Reference(c_sky130_fd_pr__pfet_01v8___, (22.31,12.97), rotation=3*pi/2))
tt7_sdgm.add(gdstk.Reference(c_sky130_fd_pr__pfet_01v8___, (26.81,12.97), rotation=3*pi/2))
tt7_sdgm.add(gdstk.Reference(c_sky130_fd_pr__pfet_01v8__, (22.31,23.97), rotation=3*pi/2))
tt7_sdgm.add(gdstk.Reference(c_sky130_fd_pr__pfet_01v8__, (26.81,23.97), rotation=3*pi/2))
tt7_sdgm.add(gdstk.Reference(c_sky130_fd_pr__pfet_01v8___, (22.31,20.47), rotation=3*pi/2))
tt7_sdgm.add(gdstk.Reference(c_sky130_fd_pr__pfet_01v8___, (26.81,20.47), rotation=3*pi/2))
tt7_sdgm.add(gdstk.Reference(c_sky130_fd_pr__pfet_01v8_______, (32.46,16.935), rotation=3*pi/2))
tt7_sdgm.add(gdstk.Label('VDD', (-5.3,26.3), layer=68, texttype=5))
tt7_sdgm.add(gdstk.Label('VSS', (-5.3,0.1), layer=68, texttype=5))
tt7_sdgm.add(gdstk.Label('P', (-5.4,8.35), layer=68, texttype=5))
tt7_sdgm.add(gdstk.Label('M', (-5.4,7.65), layer=68, texttype=5))
tt7_sdgm.add(gdstk.Label('PCB', (-5.35,14.25), layer=69, texttype=5))
tt7_sdgm.add(gdstk.Label('PB', (-5.4,12.25), layer=69, texttype=5))
tt7_sdgm.add(gdstk.Label('IOUT', (34.9,6.75), layer=69, texttype=5))

lib.write_gds('TT7_SDgm.gds')
